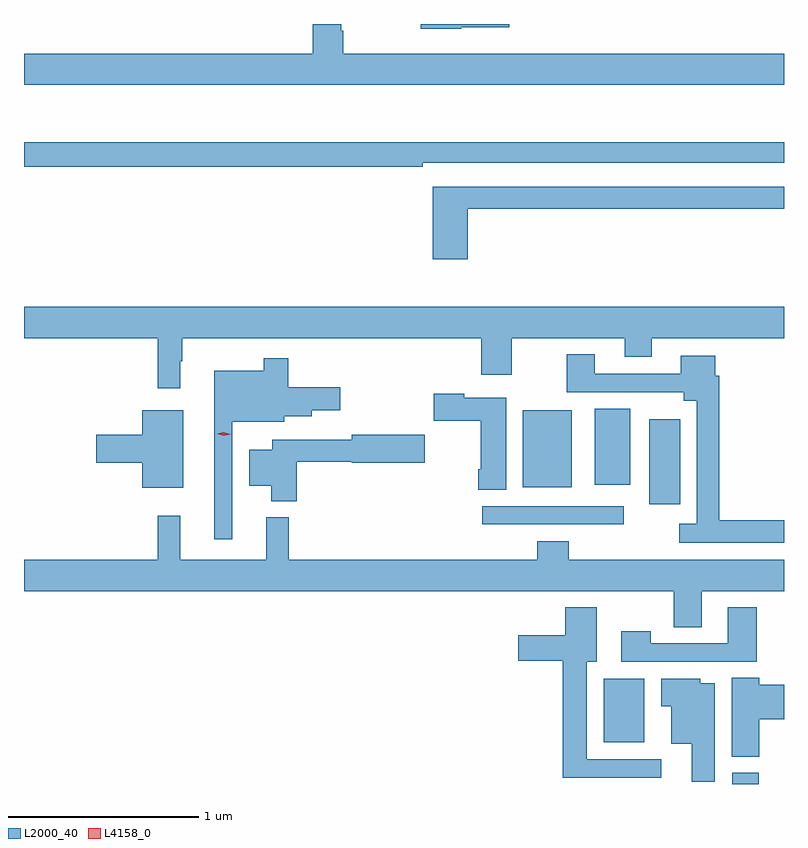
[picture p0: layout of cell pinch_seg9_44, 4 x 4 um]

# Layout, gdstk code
import gdstk
lib = gdstk.Library(unit=1e-6, precision=1e-09)
def R(c, l, rs):  # rectangles x0, y0, x1, y1
    for r in rs: c.add(gdstk.rectangle(r[:2], r[2:], *l))
def P(c, l, *ps):  # polygons
    for p in ps: c.add(gdstk.Polygon(p, *l))
L2000_40 = (2000, 40)
L4158_0 = (4158, 0)

pinch_seg9_44 = lib.new_cell('pinch_seg9_44')
R(pinch_seg9_44, L2000_40, [(990.083,1234.033,990.224,1234.092), (989.408,1234.253,989.62,1234.588), (988.767,1235.4,989.512,1235.496), (989.648,1235.505,989.809,1235.953), (988.982,1235.594,989.239,1236.001), (989.36,1235.609,989.548,1236.007)])
P(pinch_seg9_44, L2000_40, [(990.356,1237.876),(988.035,1237.876),(988.035,1237.997),(988.027,1237.997),(988.027,1238.033),(987.875,1238.033),(987.875,1237.876),(986.356,1237.876),(986.356,1237.712),(990.356,1237.712)],
  [(988.656,1238.015),(988.909,1238.015),(988.909,1238.033),(988.443,1238.033),(988.443,1238.009),(988.656,1238.009)],
  [(988.454,1237.302),(990.356,1237.302),(990.356,1237.411),(986.356,1237.411),(986.356,1237.282),(988.454,1237.282)],
  [(988.691,1237.06),(990.356,1237.06),(990.356,1237.176),(988.508,1237.176),(988.508,1236.795),(988.691,1236.795)],
  [(987.178,1236.257),(987.19,1236.257),(987.19,1236.38),(988.763,1236.38),(988.763,1236.186),(988.923,1236.186),(988.923,1236.38),(989.519,1236.38),(989.519,1236.281),(989.659,1236.281),(989.659,1236.38),(990.356,1236.38),(990.356,1236.544),(986.356,1236.544),(986.356,1236.38),(987.061,1236.38),(987.061,1236.117),(987.178,1236.117)],
  [(990.356,1235.42),(990.014,1235.42),(990.014,1236.182),(989.995,1236.182),(989.995,1236.286),(989.813,1236.286),(989.813,1236.192),(989.359,1236.192),(989.359,1236.295),(989.212,1236.295),(989.212,1236.096),(989.828,1236.096),(989.828,1236.05),(989.898,1236.05),(989.898,1235.404),(989.805,1235.404),(989.805,1235.304),(990.356,1235.304)],
  [(987.453,1235.939),(987.727,1235.939),(987.727,1235.969),(987.871,1235.969),(987.871,1235.999),(988.021,1235.999),(988.021,1236.121),(987.746,1236.121),(987.746,1236.274),(987.618,1236.274),(987.618,1236.208),(987.356,1236.208),(987.356,1235.322),(987.453,1235.322)],
  [(988.894,1236.067),(988.674,1236.067),(988.674,1236.087),(988.512,1236.087),(988.512,1235.945),(988.76,1235.945),(988.76,1235.689),(988.748,1235.689),(988.748,1235.581),(988.894,1235.581)],
  [(987.193,1236.001),(986.978,1236.001),(986.978,1235.87),(986.736,1235.87),(986.736,1235.723),(986.978,1235.723),(986.978,1235.591),(987.193,1235.591)],
  [(987.791,1235.728),(988.08,1235.728),(988.08,1235.723),(988.465,1235.723),(988.465,1235.87),(988.08,1235.87),(988.08,1235.844),(987.662,1235.844),(987.662,1235.791),(987.542,1235.791),(987.542,1235.603),(987.656,1235.603),(987.656,1235.522),(987.791,1235.522)],
  [(989.776,1234.858),(989.923,1234.858),(989.923,1235.048),(990.356,1235.048),(990.356,1235.212),(989.222,1235.212),(989.222,1235.311),(989.057,1235.311),(989.057,1235.212),(987.749,1235.212),(987.749,1235.437),(987.632,1235.437),(987.632,1235.212),(987.179,1235.212),(987.179,1235.446),(987.061,1235.446),(987.061,1235.212),(986.356,1235.212),(986.356,1235.048),(989.776,1235.048)],
  [(990.212,1234.963),(990.059,1234.963),(990.059,1234.773),(989.655,1234.773),(989.655,1234.837),(989.499,1234.837),(989.499,1234.677),(990.212,1234.677)],
  [(989.71,1234.164),(989.317,1234.164),(989.317,1234.676),(989.371,1234.676),(989.371,1234.963),(989.204,1234.963),(989.204,1234.816),(988.956,1234.816),(988.956,1234.682),(989.192,1234.682),(989.192,1234.067),(989.71,1234.067)],
  [(990.227,1234.373),(990.356,1234.373),(990.356,1234.556),(990.227,1234.556),(990.227,1234.592),(990.08,1234.592),(990.08,1234.177),(990.227,1234.177)],
  [(989.992,1234.564),(989.916,1234.564),(989.916,1234.588),(989.711,1234.588),(989.711,1234.442),(989.762,1234.442),(989.762,1234.244),(989.87,1234.244),(989.87,1234.044),(989.992,1234.044)])
P(pinch_seg9_44, L4158_0, [(987.406,1235.865),(987.372,1235.876),(987.371,1235.876),(987.372,1235.877),(987.407,1235.885),(987.442,1235.873),(987.443,1235.873),(987.442,1235.873)])

lib.write_gds('pinch_seg9_44.gds')
